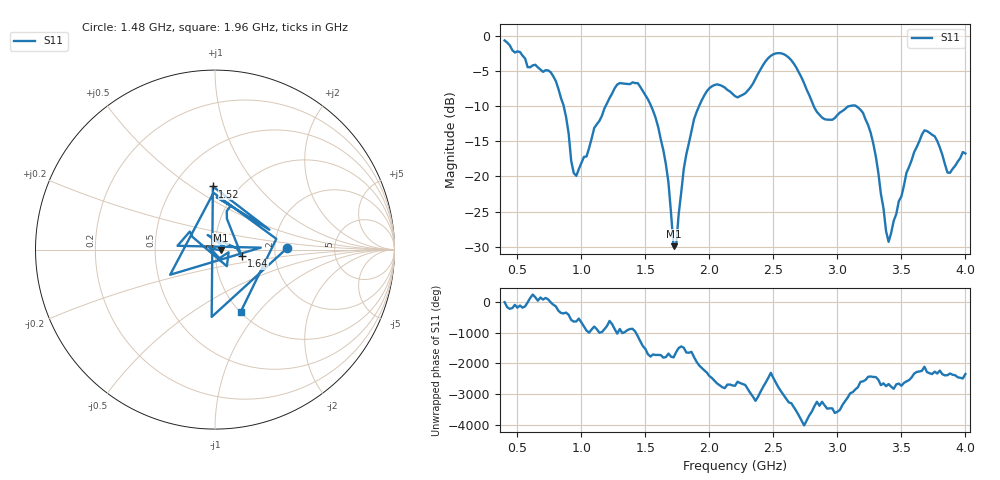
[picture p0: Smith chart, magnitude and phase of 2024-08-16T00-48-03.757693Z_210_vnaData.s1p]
!Created with skrf (http://scikit-rf.org).
# Hz S RI R 50.0
!freq ReS11 ImS11
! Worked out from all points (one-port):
!   181 points, 400 MHz to 4 GHz, reference 50 ohm
!   lowest |S11| = -29.9 dB at 1.72 GHz (marker M1), VSWR 1.07, Z = 53.3 - j0.519 ohm
!   |S11| at or under -10 dB: 861.5 MHz to 1.19 GHz (328 MHz wide, 32 % of centre); 1.544 GHz to 1.92 GHz (375.4 MHz wide, 21.7 % of centre); 3.145 GHz to end of sweep (the widest 3 of 4)
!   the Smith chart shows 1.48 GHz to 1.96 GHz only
!   S11 on the Smith chart (normalised r, x): 1.48 GHz: 2.35, +0.05; 1.52 GHz: 0.76, +0.61; 1.64 GHz: 1.35, -0.10; 1.96 GHz: 1.00, -0.81
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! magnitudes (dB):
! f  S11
! 400 MHz  -0.7
! 760 MHz  -5.2
! 860 MHz  -9.9
! 920 MHz  -17.7
! 960 MHz  -19.9
! 1.3 GHz  -6.7
! 1.48 GHz  -7.9
! 1.52 GHz  -9.1
! 1.64 GHz  -16.3
! 1.68 GHz  -20.9
! 1.72 GHz  -29.9
! 1.74 GHz  -29.8
! 1.76 GHz  -25.3
! 1.82 GHz  -16.8
! 1.96 GHz  -8.5
! 2.06 GHz  -6.9
! 2.2 GHz  -8.6
! 2.5 GHz  -2.7
! 2.66 GHz  -4.0
! 2.88 GHz  -11.6
! 3.1 GHz  -10.0
! 3.26 GHz  -13.8
! 3.4 GHz  -29.3
! 3.56 GHz  -18.6
! 3.68 GHz  -13.5
! 3.78 GHz  -15.0
! 3.86 GHz  -19.4
! 4 GHz  -16.7
